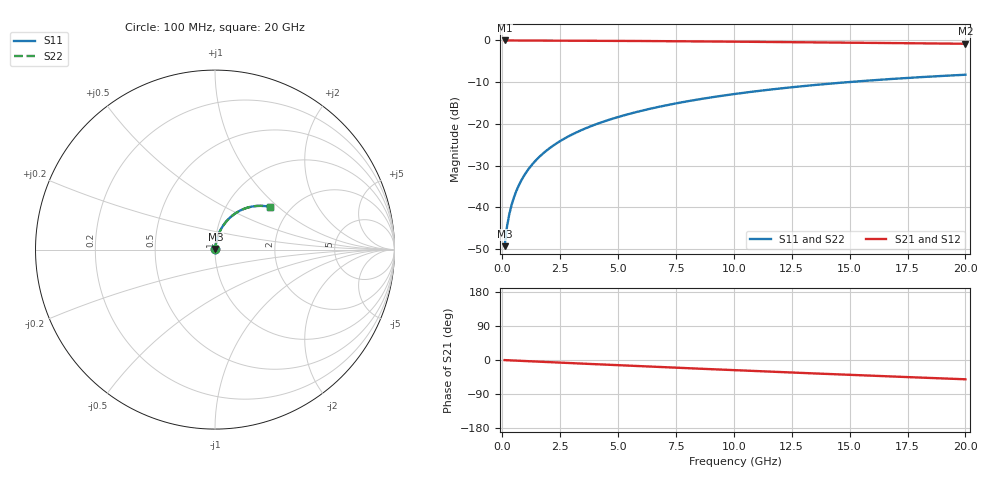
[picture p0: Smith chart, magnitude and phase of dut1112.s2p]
! Touchstone file exported from HFSS 2026.1.0
!  File:  C:/ffzhzh/LocalFiles/Ansys_Project_Files/temp_train_BSMRDL_1112_1783174966_43440.aedt
!  Generated:  10:24:11 PM Jul  4, 2026
!  Design:  BSMRDL
!  Project:  temp_train_BSMRDL_1112_1783174966_43440
! Variables:
!  h_bsmrdl = 5.44um
!  h_ox = 20um
!  h_rdl = 5um
!  h_sub = 80um
!  h_tmrdl = 5um
!  h_tsv = 80um
!  h_via = 3um
!  l_bsmrdl = 798.3um
!  l_sub = 1198.3um
!  l_tmrdl = 200um
!  m_sub = 200um
!  pitch = 56.76um
!  r_tsv = 6um
!  s_tmrdl = 10um
!  w_bsmrdl = 29.04um
!  w_sub = 500um
!  w_tmrdl = 12um
!  x_tsv_center1 = 206um
!  x_tsv_center2 = 1033.34um
!  x_tsv_center3 = 1245.34um
!  x_tsv_center4 = 2072.68um
!  x_tsv_center5 = 2284.68um
!  x_tsv_center6 = 3112.02um
# GHz S MA R 50.000000
! Terminal data exported
! Port[1] = BSM_RDL1_1_T1
! Port[2] = BSM_RDL1_1_T2
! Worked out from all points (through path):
!   200 points, 100 MHz to 20 GHz, reference 50 ohm
!   highest |S21| = -0.02 dB at 100 MHz (marker M1); lowest = -0.8 dB at 20 GHz (marker M2)
!   group delay of S21, straight-line fit = 7.07 ps
!   lowest |S11| = -49.3 dB at 100 MHz (marker M3), VSWR 1.01, Z = 50.2 + j0.278 ohm
!   |S11| at or under -10 dB: start of sweep to 14.92 GHz
!   |S22| runs from -49.3 to -8.2 dB; largest |S21 - S12| = 1.1e-14
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0.1  0.003444 53.6  0.998 -0.3  0.998 -0.3  0.003444 53.6
! Gamma 0 0 0 0
! Port Impedance 50 0 50 0
0.2  0.005833 67.0  0.9978 -0.6  0.9978 -0.6  0.005833 67.0
0.3  0.008252 72.5  0.9976 -0.9  0.9976 -0.9  0.008252 72.5
0.4  0.01068 75.5  0.9975 -1.1  0.9975 -1.1  0.01068 75.5
0.5  0.01313 77.5  0.9974 -1.4  0.9974 -1.4  0.01313 77.5
0.7  0.01807 79.6  0.9972 -2.0  0.9972 -2.0  0.01807 79.6
0.8  0.02055 80.2  0.9971 -2.2  0.9971 -2.2  0.02055 80.2
1  0.02552 80.9  0.9969 -2.8  0.9969 -2.8  0.02552 80.9
1.2  0.03049 81.1  0.9966 -3.4  0.9966 -3.4  0.03049 81.1
1.4  0.03545 81.1  0.9963 -3.9  0.9963 -3.9  0.03545 81.1
1.7  0.04286 80.9  0.9958 -4.7  0.9958 -4.7  0.04286 80.8
2  0.05023 80.4  0.9952 -5.6  0.9952 -5.6  0.05023 80.4
2.7  0.06722 79.0  0.9936 -7.5  0.9936 -7.5  0.06722 79.0
3.5  0.08627 77.1  0.9914 -9.7  0.9914 -9.7  0.08627 77.1
4.2  0.1026 75.4  0.9893 -11.5  0.9893 -11.5  0.1026 75.4
5  0.121 73.5  0.9866 -13.7  0.9866 -13.7  0.121 73.5
6.8  0.161 69.0  0.9798 -18.5  0.9798 -18.5  0.161 69.0
8.3  0.193 65.3  0.9734 -22.4  0.9734 -22.4  0.193 65.3
10.1  0.2296 60.9  0.9648 -27.0  0.9648 -27.0  0.2296 60.9
13.4  0.2907 52.9  0.9474 -35.3  0.9474 -35.3  0.2907 52.9
16.7  0.3437 45.2  0.9291 -43.2  0.9291 -43.2  0.3437 45.2
20  0.3881 37.7  0.9113 -50.9  0.9113 -50.9  0.3881 37.7
